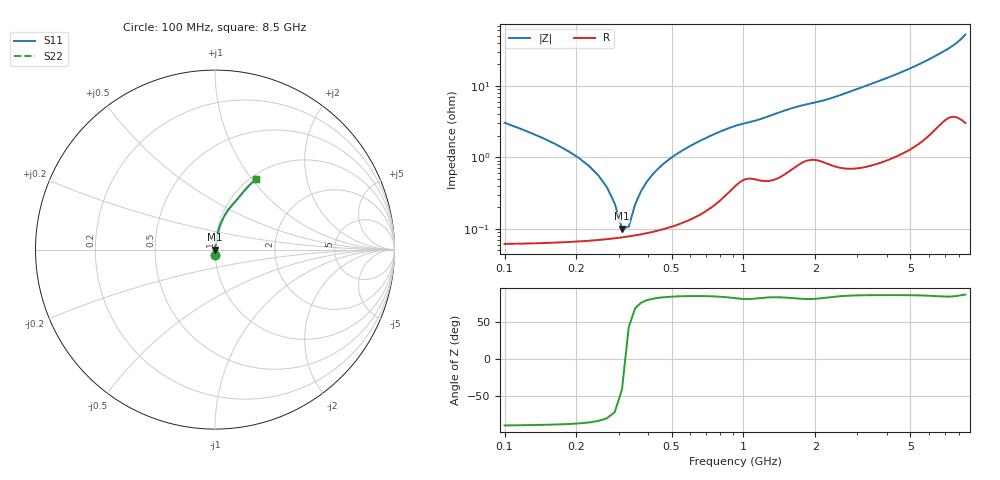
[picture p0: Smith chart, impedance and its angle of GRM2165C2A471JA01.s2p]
!Murata Part Number: GRM2165C2A471JA01
!These Parameters are Measured in Series Mode Connection
!Data Generated on Mar 30, 2021
!  o--ll--o
!Port1  Port2
!  o------o
!Operation Temp=25[degC], DC Bias Voltage=0[V]
!Freq. Start=100[MHz] Stop=9[GHz] 401[Steps]
# Hz S RI R 50
!Freq.(Hz) S11(Real) S11(Imag) S21(Real) S21(Imag) S12(Real) S12(Imag) S22(Real) S22(Imag)
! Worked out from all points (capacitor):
!   401 points, 100 MHz to 8.5 GHz, reference 50 ohm
!   read as one part in series: C = 470 pF near 142 MHz
!   lowest |Z| = 101 mohm at 310 MHz (marker M1)
!   series resonance near 319.9 MHz, so ESL is about 530 pH
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1e8  0.00155 -0.0305  0.9985 0.0305  0.9985 0.0305  0.00155 -0.0305
1.42e8  0.000998 -0.0191  0.999 0.0191  0.999 0.0191  0.000998 -0.0191
2.05e8  0.000762 -0.00973  0.9992 0.00973  0.9992 0.00973  0.000762 -0.00973
2.47e8  0.00073 -0.00554  0.9993 0.00554  0.9993 0.00554  0.00073 -0.00554
2.89e8  0.000742 -0.00215  0.9993 0.00215  0.9993 0.00215  0.000742 -0.00215
3.1e8  0.00076 -0.000659  0.9992 0.000659  0.9992 0.000659  0.00076 -0.000659
3.31e8  0.000785 0.000733  0.9992 -0.000733  0.9992 -0.000733  0.000785 0.000733
3.52e8  0.000814 0.00204  0.9992 -0.00204  0.9992 -0.00204  0.000814 0.00204
3.94e8  0.00089 0.00448  0.9991 -0.00448  0.9991 -0.00448  0.00089 0.00448
4.15e8  0.000935 0.00562  0.9991 -0.00562  0.9991 -0.00562  0.000935 0.00562
4.57e8  0.00104 0.00778  0.999 -0.00778  0.999 -0.00778  0.00104 0.00778
5.41e8  0.00131 0.0118  0.9987 -0.0118  0.9987 -0.0118  0.00131 0.0118
6.46e8  0.0018 0.0164  0.9982 -0.0164  0.9982 -0.0164  0.0018 0.0164
7.72e8  0.00273 0.0216  0.9973 -0.0216  0.9973 -0.0216  0.00273 0.0216
9.19e8  0.00462 0.027  0.9954 -0.027  0.9954 -0.027  0.00462 0.027
1.507e9  0.00794 0.0449  0.9921 -0.0449  0.9921 -0.0449  0.00794 0.0449
2.914e9  0.0143 0.0855  0.9857 -0.0855  0.9857 -0.0855  0.0143 0.0855
4.3e9  0.0293 0.137  0.9707 -0.137  0.9707 -0.137  0.0293 0.137
5.707e9  0.06 0.2003  0.94 -0.2003  0.94 -0.2003  0.06 0.2003
7.114e9  0.1191 0.2748  0.8809 -0.2748  0.8809 -0.2748  0.1191 0.2748
7.912e9  0.167 0.3323  0.833 -0.3323  0.833 -0.3323  0.167 0.3323
8.5e9  0.2292 0.3923  0.7708 -0.3923  0.7708 -0.3923  0.2292 0.3923
